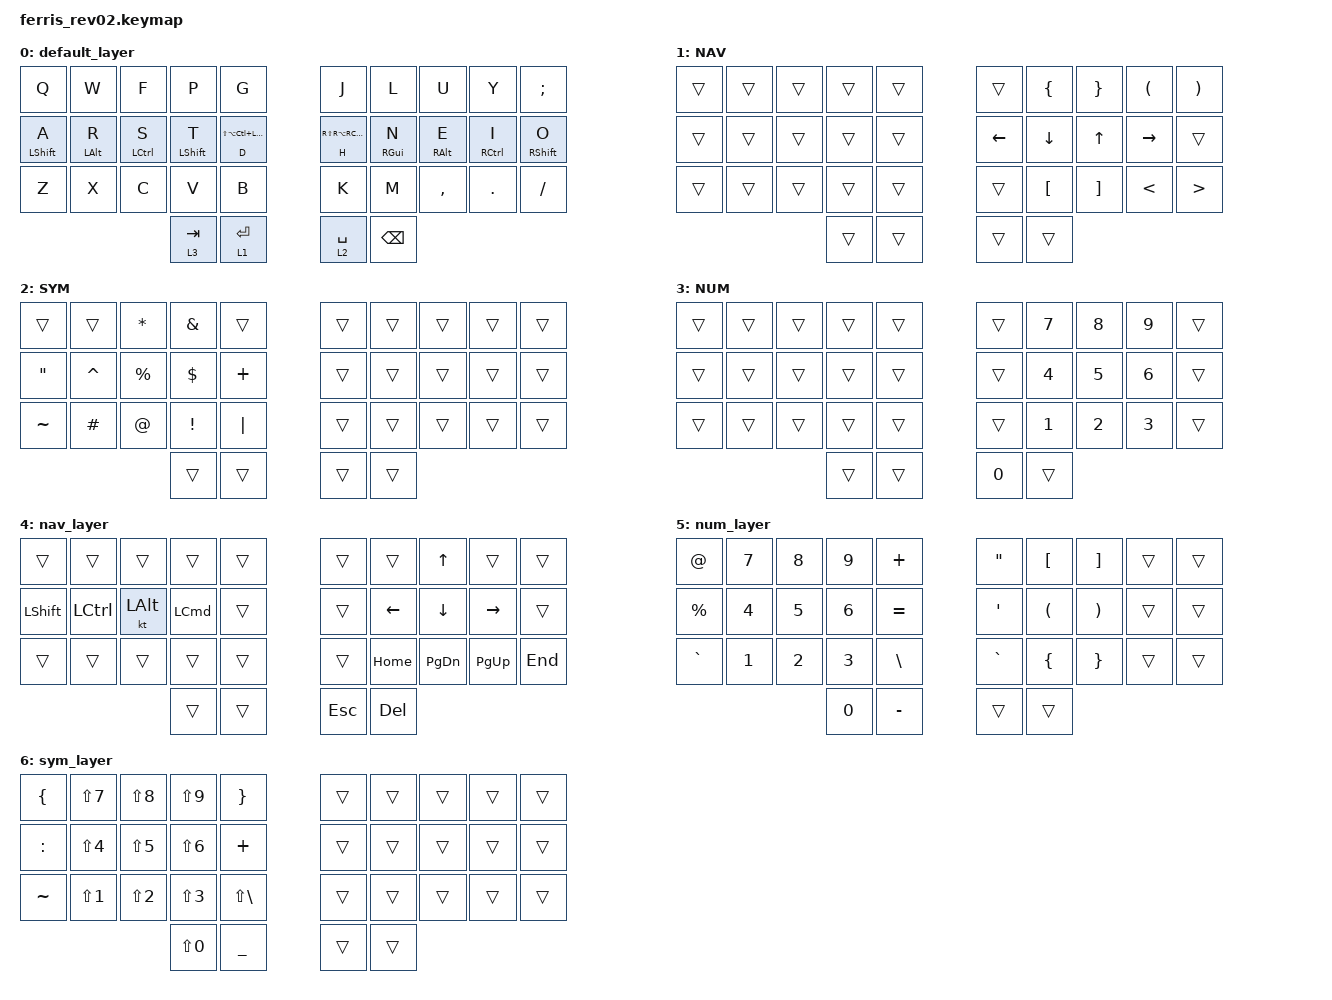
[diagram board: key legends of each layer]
/*
 * Copyright (c) 2020 The ZMK Contributors
 *
 * SPDX-License-Identifier: MIT
 */

#undef ZMK_BEHAVIORS_KEEP_ALL

#include <behaviors.dtsi>
#include <dt-bindings/zmk/keys.h>
#include <dt-bindings/zmk/keys.h>

#define NAV_L 1
#define OTHER_L 2
#define NUM_L 3
#define SYM_L 4

// Using layer taps on thumbs, having quick tap as well helps w/ repeating space/backspace

&lt { quick-tap-ms = <200>; };

/ {
    behaviors {
        hm: homerow_mods {
            compatible = "zmk,behavior-hold-tap";
            #binding-cells = <2>;
            tapping-term-ms = <200>;
            flavor = "tap-preferred";
            bindings = <&kp>, <&kp>;
        };
    };

    combos {
        compatible = "zmk,combos";

        minus {
            bindings = <&kp MINUS>;
            key-positions = <3 6>;
        };

        under {
            bindings = <&kp UNDER>;
            key-positions = <23 26>;
        };

        caps-word {
            bindings = <&caps_word>;
            key-positions = <20 29>;
        };
    };

    keymap {
        compatible = "zmk,keymap";

        default_layer {
            bindings = <
&kp Q             &kp W       &kp F        &kp P        &kp G                         &kp J                        &kp L            &kp U            &kp Y        &kp SEMI
&hm LEFT_SHIFT A  &hm LALT R  &hm LCTRL S  &hm LSHFT T  &hm D LS(LA(LC(LEFT_GUI)))    &hm H RS(RA(RC(RIGHT_GUI)))  &hm RIGHT_GUI N  &hm RIGHT_ALT E  &hm RCTRL I  &hm RIGHT_SHIFT O
&kp Z             &kp X       &kp C        &kp V        &kp B                         &kp K                        &kp M            &kp COMMA        &kp DOT      &kp SLASH
                                           &lt 3 TAB    &lt 1 ENTER                   &lt 2 SPACE                  &kp BACKSPACE
            >;
        };

        NAV {
            bindings = <
&trans  &trans  &trans  &trans  &trans    &trans    &kp LBRC  &kp RBRC  &kp LPAR   &kp RPAR
&trans  &trans  &trans  &trans  &trans    &kp LEFT  &kp DOWN  &kp UP    &kp RIGHT  &trans
&trans  &trans  &trans  &trans  &trans    &trans    &kp LBKT  &kp RBKT  &kp LT     &kp GT
                        &trans  &trans    &trans    &trans
            >;
        };

        SYM {
            bindings = <
&trans     &trans     &kp ASTRK  &kp AMPS  &trans      &trans  &trans  &trans  &trans  &trans
&kp DQT    &kp CARET  &kp PRCNT  &kp DLLR  &kp PLUS    &trans  &trans  &trans  &trans  &trans
&kp TILDE  &kp HASH   &kp AT     &kp EXCL  &kp PIPE    &trans  &trans  &trans  &trans  &trans
                                 &trans    &trans      &trans  &trans
            >;
        };

        NUM {
            bindings = <
&trans  &trans  &trans  &trans  &trans    &trans  &kp N7  &kp N8  &kp N9  &trans
&trans  &trans  &trans  &trans  &trans    &trans  &kp N4  &kp N5  &kp N6  &trans
&trans  &trans  &trans  &trans  &trans    &trans  &kp N1  &kp N2  &kp N3  &trans
                        &trans  &trans    &kp N0  &trans
            >;
        };

        nav_layer {
            bindings = <
&trans          &trans            &trans        &trans            &trans    &trans   &trans    &kp UP_ARROW  &trans     &trans
&kp LEFT_SHIFT  &kp LEFT_CONTROL  &kt LEFT_ALT  &kp LEFT_COMMAND  &trans    &trans   &kp LEFT  &kp DOWN      &kp RIGHT  &trans
&trans          &trans            &trans        &trans            &trans    &trans   &kp HOME  &kp PG_DN     &kp PG_UP  &kp END
                                                &trans            &trans    &kp ESC  &kp DEL
            >;
        };

        num_layer {
            bindings = <
&kp AT     &kp N7  &kp N8  &kp N9  &kp PLUS     &kp DQT    &kp LBKT  &kp RBKT  &trans  &trans
&kp PRCNT  &kp N4  &kp N5  &kp N6  &kp EQUAL    &kp SQT    &kp LPAR  &kp RPAR  &trans  &trans
&kp GRAVE  &kp N1  &kp N2  &kp N3  &kp BSLH     &kp GRAVE  &kp LBRC  &kp RBRC  &trans  &trans
                           &kp N0  &kp MINUS    &trans     &trans
            >;
        };

        sym_layer {
            bindings = <
&kp LBRC   &kp LS(N7)  &kp LS(N8)  &kp LS(N9)  &kp RBRC        &trans  &trans  &trans  &trans  &trans
&kp COLON  &kp LS(N4)  &kp LS(N5)  &kp LS(N6)  &kp PLUS        &trans  &trans  &trans  &trans  &trans
&kp TILDE  &kp LS(N1)  &kp LS(N2)  &kp LS(N3)  &kp LS(BSLH)    &trans  &trans  &trans  &trans  &trans
                                   &kp LS(N0)  &kp UNDER       &trans  &trans
            >;
        };
    };
};
